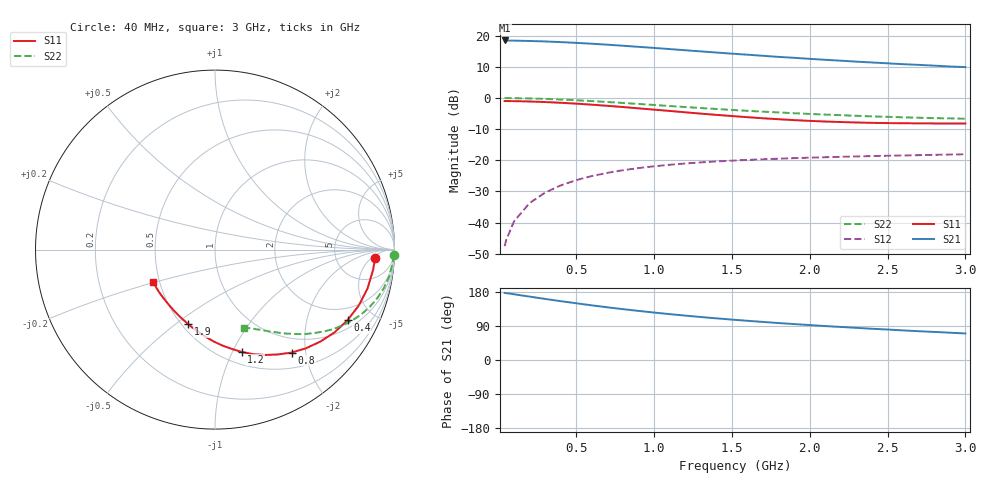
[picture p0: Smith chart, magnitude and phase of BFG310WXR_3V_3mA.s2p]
! Filename: 33BFG310WXR.s2p
! Title: BFG310WXR,RN20042071,Lot:TT3082,B:X1104,Sl.:3
! Bias: VCE=2.999V; IC=3.000mA;
! Company: Philips Semiconductors NL
! User: Q&R DSC-N
! Measure time: 29 Mar 2004 / 13:21:14
#  MHz  S  MA  R 50
! Freq  S11  S21  S12  S22  :
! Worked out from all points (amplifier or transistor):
!   32 points, 40 MHz to 3 GHz, reference 50 ohm
!   highest |S21| = 18.4 dB at 40 MHz (marker M1)
!   |S21| within 3 dB of that: start of sweep to 1.163 GHz
!   unconditionally stable (mu >= 1): nowhere
!   at 400 MHz: K = 0.18, MSG = 23.0 dB, |S12| = -28.1 dB
!   at 1.5 GHz: K = 0.58, MSG = 17.2 dB, |S12| = -20.1 dB
!   at 3 GHz: K = 0.90, MSG = 14.0 dB, |S12| = -18.1 dB
!   S11 on the Smith chart (normalised r, x): 40 MHz: 15, -6; 400 MHz: 1.34, -3.52; 800 MHz: 0.74, -1.75; 1.2 GHz: 0.62, -1.08; 1.9 GHz: 0.54, -0.55; 3 GHz: 0.46, -0.19
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40  0.8914 -2.8  8.348 177.1  0.004202 88.1  0.9956 -1.7
50  0.8916 -3.6  8.328 176.5  0.005249 87.5  0.9954 -2.1
100  0.8884 -7.2  8.293 173.5  0.01046 85.2  0.9924 -4.3
200  0.8771 -14.3  8.192 167.3  0.02059 80.7  0.9822 -8.6
300  0.8596 -21.2  8.055 161.2  0.03036 76.3  0.9657 -12.7
400  0.8368 -28.1  7.855 155.3  0.03956 72.0  0.9441 -16.6
500  0.8101 -34.7  7.636 149.7  0.04814 68.1  0.9186 -20.4
600  0.7796 -41.1  7.4 144.2  0.05592 64.5  0.8907 -24.0
700  0.7477 -47.3  7.143 139.1  0.06294 61.1  0.8605 -27.3
800  0.7152 -53.3  6.868 134.2  0.0694 58.0  0.8305 -30.4
900  0.6812 -59.1  6.595 129.6  0.07503 55.1  0.8006 -33.2
1000  0.6492 -64.7  6.337 125.2  0.08016 52.5  0.7712 -35.9
1100  0.6189 -70.2  6.072 121.1  0.0848 50.1  0.742 -38.4
1200  0.5889 -75.5  5.815 117.2  0.08884 48.0  0.7144 -40.8
1400  0.5354 -85.7  5.347 110.0  0.09589 44.3  0.6655 -45.0
1600  0.4913 -95.5  4.934 103.5  0.1015 41.2  0.6215 -48.9
1800  0.4557 -105.2  4.551 97.5  0.1061 38.8  0.5854 -52.3
1900  0.4408 -109.9  4.4 94.8  0.1083 37.7  0.5687 -53.9
2100  0.4187 -119.1  4.088 89.5  0.112 36.0  0.541 -57.1
2400  0.3987 -131.7  3.704 82.5  0.1168 33.9  0.5066 -61.5
2600  0.3928 -139.6  3.476 78.1  0.1196 33.0  0.4892 -64.2
3000  0.3891 -152.8  3.12 70.1  0.1249 31.2  0.4642 -69.7
